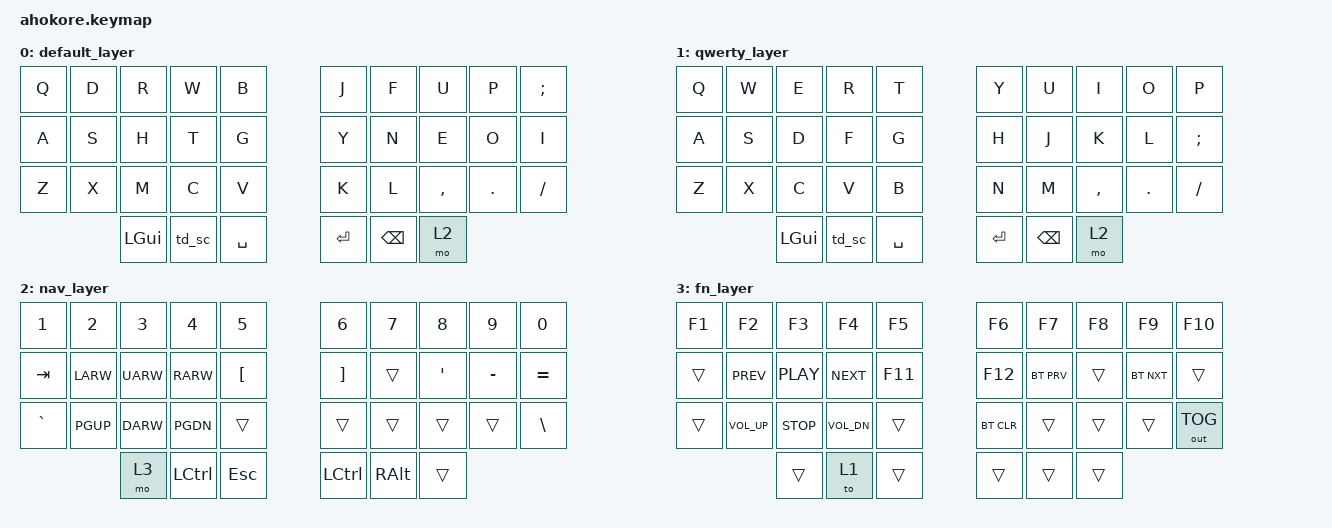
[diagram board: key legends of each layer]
#include <behaviors.dtsi>
#include <dt-bindings/zmk/keys.h>
#include <dt-bindings/zmk/bt.h>
#include <dt-bindings/zmk/outputs.h>

#define default_layer 0
#define nav_layer   1
#define fn_layer   2
#define qwerty_layer   3

/ {
        behaviors {
          td_sc: shift_caps {
            compatible = "zmk,behavior-tap-dance";
            label = "SHIFT_CAPS";
            #binding-cells = <0>;
            tapping-term-ms = <200>;
            bindings = <&kp LSFT>, <&kp CAPS>;
          };
        };

        keymap {
                compatible = "zmk,keymap";

                default_layer {
                        bindings = <
   &kp Q &kp D &kp R &kp W &kp B           &kp J &kp F  &kp U    &kp P   &kp SCLN
   &kp A &kp S &kp H &kp T &kp G           &kp Y &kp N  &kp E    &kp O   &kp I
   &kp Z &kp X &kp M &kp C &kp V           &kp K &kp L  &kp CMMA &kp DOT &kp FSLH
           &kp LGUI &td_sc &kp SPC         &kp RET &kp BKSP &mo 2
                        >;
                };
                
                qwerty_layer {

                        bindings = <
   &kp Q    &kp W    &kp E     &kp R    &kp T         &kp Y    &kp U     &kp I    &kp O    &kp P     
   &kp A    &kp S    &kp D     &kp F    &kp G         &kp H    &kp J     &kp K    &kp L    &kp SCLN
   &kp Z    &kp X    &kp C     &kp V    &kp B         &kp N    &kp M     &kp CMMA &kp DOT  &kp FSLH
                     &kp LGUI  &td_sc   &kp SPC       &kp RET  &kp BKSP  &mo 2
                        >;
                };

                nav_layer {
                        bindings = <
   &kp N1    &kp N2    &kp N3    &kp N4    &kp N5            &kp N6    &kp N7   &kp N8   &kp N9    &kp N0
   &kp TAB   &kp LARW  &kp UARW  &kp RARW  &kp LBKT          &kp RBKT  &trans   &kp SQT  &kp MINUS &kp EQL
   &kp GRAVE &kp PGUP  &kp DARW  &kp PGDN  &trans            &trans    &trans   &trans   &trans    &kp BSLH
                       &mo 3     &kp LCTL  &kp ESC           &kp LCTL  &kp RALT   &trans
                        >;
                };

                fn_layer {

                        bindings = <
   &kp F1    &kp F2       &kp F3     &kp F4       &kp F5          &kp F6     &kp F7     &kp F8    &kp F9     &kp F10     
   &trans    &kp K_PREV   &kp C_PLAY &kp K_NEXT   &kp F11         &kp F12    &bt BT_PRV &trans    &bt BT_NXT &trans
   &trans    &kp K_VOL_UP &kp K_STOP &kp K_VOL_DN &trans          &bt BT_CLR &trans     &trans    &trans     &out OUT_TOG
                          &trans     &to 1       &trans          &trans     &trans     &trans
                        >;
                };

              };
};
